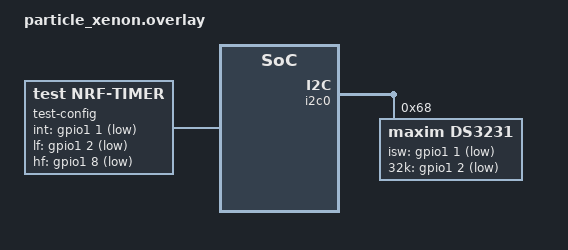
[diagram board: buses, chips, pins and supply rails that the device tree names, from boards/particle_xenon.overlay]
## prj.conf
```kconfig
CONFIG_PRINTK=y

CONFIG_I2C=y
CONFIG_COUNTER=y
CONFIG_COUNTER_DS3231=y

CONFIG_HWINFO=y
CONFIG_CLOCK_CONTROL_NRF_K32SRC_XTAL=y
CONFIG_CLOCK_CONTROL_NRF_K32SRC_RC=n
CONFIG_CLOCK_CONTROL_NRF_K32SRC_SYNTH=n
```

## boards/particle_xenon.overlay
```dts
/*
 * Copyright (c) 2019 Peter Bigot Consulting, LLC
 *
 * SPDX-License-Identifier: Apache-2.0
 */

&i2c0 { /* SDA P0.26, SCL P0.27, ISW P1.1, 32K P1.2 */
	status = "okay";
	ds3231: ds3231@68 {
		compatible = "maxim,ds3231";
		reg = <0x68>;
		label = "DS3231";
		isw-gpios = <&gpio1 1 (GPIO_PULL_UP | GPIO_ACTIVE_LOW)>;
		32k-gpios = <&gpio1 2 (GPIO_PULL_UP | GPIO_ACTIVE_LOW)>;
	};
};

/ {
  test-config {
     compatible = "test,nrf-timer";
     status = "okay";
     tick-rtc = <&rtc1>;
     hf-timer = <&timer0>;
     int-gpios = <&gpio1 1 (GPIO_PULL_UP | GPIO_ACTIVE_LOW)>;
     lf-gpios = <&gpio1 2 (GPIO_PULL_UP | GPIO_ACTIVE_LOW)>;
     hf-gpios = <&gpio1 8 (GPIO_PULL_UP | GPIO_ACTIVE_LOW)>;
  };
};
```

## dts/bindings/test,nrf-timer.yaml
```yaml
#
# Copyright (c) 2020 Nordic Semiconductor ASA
#
# SPDX-License-Identifier: Apache-2.0
#

description: |
    This binding provides resources required to build and run the
    samples/drivers/nrf_timer test.

compatible: "test,nrf-timer"

properties:
    tick-rtc:
      type: phandle
      required: false
      description: |
        Reference to the RTC peripheral used as the system tick timer.
        If absent uses NRF_RTC1 which is hard-coded as the tick timer.
        CC[0] is by the tick timer for alarms; CC[1] is used by this
        application for triggered capture.

    hf-timer:
      type: phandle
      required: true
      description: |
        Reference to the TIMER peripheral used as the high-frequency
        clock.  This timer must support 32-bit mode.  In this
        application CC[0] is used to read the timer; CC[1] is used for
        triggered capture.

    int-gpios:
        type: phandle-array
        required: true
        description: |
          Identity of a GPIO that will be connected to the 1pps signal
          and serve as the trigger for an interrupt in which the ticks
          counter will be captured.

    hf-gpios:
        type: phandle-array
        required: true
        description: |
          Identity of a GPIO that will be connected to the 1pps signal
          and serve as the trigger for a GPIOTE input event connected to
          an TIMER capture task.

    lf-gpios:
        type: phandle-array
        required: true
        description: |
          Identity of a GPIO that will be connected to the 1pps signal
          and serve as the trigger for a GPIOTE input event connected to
          an RTC capture task.
```

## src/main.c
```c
/*
 * Copyright (c) 2019-2020 Peter Bigot Consulting, LLC
 * Copyright (c) 2020 Nordic Semiconductor ASA
 *
 * SPDX-License-Identifier: Apache-2.0
 */

#include <stdio.h>

#define DT_DRV_COMPAT "test_nrf_timer"

#include <zephyr.h>
#include <device.h>
#include <drivers/counter.h>
#include <drivers/gpio.h>
#include <sys/printk.h>
#include <drivers/rtc/ds3231.h>
#include <drivers/hwinfo.h>
#include <drivers/clock_control.h>
#include <drivers/clock_control/nrf_clock_control.h>

#define NODE DT_PATH(test_config)

#define CLOCK ((NRF_CLOCK_Type*)(DT_REG_ADDR(DT_NODELABEL(clock))))

#define TICK_RTC ((NRF_RTC_Type*)(DT_NODE_HAS_PROP(NODE, tick_rtc)	\
				  ? (void*)DT_REG_ADDR(DT_PHANDLE(NODE, tick_rtc)) \
				  : NRF_RTC1))
#define TICK_CAPTURE_CC 1

#define HFCLK_TIMER ((NRF_TIMER_Type*)DT_REG_ADDR(DT_PHANDLE(NODE, hf_timer)))
#define HFCLK_Hz (16U * 1000U * 1000U)
#define HFCLK_READ_CC 0
#define HFCLK_CAPTURE_CC 1
#define HFCLK_GPIOTE_CH 1
#define HFCLK_PPI_CH 0

#define GPIOTE ((NRF_GPIOTE_Type*)DT_REG_ADDR(DT_NODELABEL(gpiote)))
#define PPI NRF_PPI

static u32_t hfclk_Hz;
static inline u32_t hfclk_read32(void)
{
	HFCLK_TIMER->TASKS_CAPTURE[HFCLK_READ_CC] = 1;
	return HFCLK_TIMER->CC[HFCLK_READ_CC];
}

static u32_t const tick_Hz = 32768;
static inline u32_t tick_read24(void)
{
	return TICK_RTC->COUNTER;
}

static u32_t systick_Hz;
static u32_t volatile systick_overflows;
static inline u32_t systick_read32(void)
{
	return ((systick_overflows + 1U) << 24) - SysTick->VAL;
}

static inline u32_t delta32(u32_t a, u32_t b)
{
	return b - a;
}

static inline u32_t delta24(u32_t a, u32_t b)
{
	return BIT_MASK(24) & (b - a);
}

struct gpios {
	NRF_GPIO_Type* periph;
	union {
		const char *label;
		struct device *dev;
	};
	gpio_pin_t pin;
	gpio_dt_flags_t flags;
	bool port;
};

#define GPIO_INITIALIZER(prop) {			\
	.periph = (NRF_GPIO_Type*)DT_REG_ADDR(DT_PHANDLE(NODE, prop)), \
	.label = DT_GPIO_LABEL(NODE, prop),		\
	.pin = DT_GPIO_PIN(NODE,prop),			\
	.flags = DT_GPIO_FLAGS(NODE, prop),		\
	.port = (DT_REG_ADDR(DT_PHANDLE(NODE, prop)) != NRF_P0_BASE),  \
}

static struct config {
	struct gpios int_pps;
	struct gpios hf_pps;
	struct gpios lf_pps;
} config = {
	.int_pps = GPIO_INITIALIZER(int_gpios),
	.hf_pps = GPIO_INITIALIZER(hf_gpios),
	.lf_pps = GPIO_INITIALIZER(lf_gpios),
};

struct sample {
	u32_t trig_capture_hfclk;
	u32_t int_capture_tick;
	u32_t int_capture_systick;
	u32_t work_capture_tick;
	u32_t work_capture_systick;
};

static struct sample volatile sample;
static struct sample last_sample;

static void show_id(void)
{
	union {
		u8_t hwid[10];
		char hwtext[31];
	} u = { 0 };
	int len = hwinfo_get_device_id(u.hwid, sizeof(u.hwid));
	const u8_t *sp = u.hwid + len;
	char *dp = u.hwtext + 3 * len - 1;

	*dp-- = 0;
	while (sp > u.hwid) {
		static char hexid[] = "0123456789abcdef";

		--sp;
		*dp-- = hexid[*sp & 0x0F];
		*dp-- = hexid[*sp >> 4];
		if (dp > u.hwtext) {
			*dp-- = ':';
		}
	}

	printk("%s %s\n", CONFIG_BOARD, u.hwtext);
	printk("RTC at %p, HFTIMER at %p\n",
	       TICK_RTC, HFCLK_TIMER);
}

static void show_clkstat(void)
{
	static const char *lfclk_src[] = {
		[CLOCK_LFCLKSTAT_SRC_RC] = "RC",
		[CLOCK_LFCLKSTAT_SRC_Xtal] = "Xtal",
		[CLOCK_LFCLKSTAT_SRC_Synth] = "Synth",
	};
	static const char *hfclk_src[] = {
		[CLOCK_HFCLKSTAT_SRC_RC] = "RC",
		[CLOCK_HFCLKSTAT_SRC_Xtal] = "Xtal",
	};
	u32_t reg = CLOCK->LFCLKSTAT;

	printk("LFCLK: %s %s\n",
	       (reg & CLOCK_LFCLKSTAT_STATE_Msk) ? "Running" : "Off",
	       lfclk_src[(reg & CLOCK_LFCLKSTAT_SRC_Msk)
			 >> CLOCK_LFCLKSTAT_SRC_Pos]);
	reg = CLOCK->HFCLKSTAT;
	printk("HFCLK: %s %s, raw freq %u Hz ; timer %u Hz\n",
	       (reg & CLOCK_HFCLKSTAT_STATE_Msk) ? "Running" : "Off",
	       hfclk_src[(reg & CLOCK_HFCLKSTAT_SRC_Msk)
			 >> CLOCK_HFCLKSTAT_SRC_Pos],
	       HFCLK_Hz,
	       HFCLK_Hz >> HFCLK_TIMER->PRESCALER);
}

static inline s32_t err_ppm(u32_t delta,
			    u32_t expected)
{
	s32_t err = delta - expected;
	return ((s64_t)1000000 * err) / (s32_t)expected;
}

static void pps_work_handler(struct k_work *work)
{
	static u32_t count;
	struct sample cur = sample;

	cur.work_capture_systick = systick_read32();
	cur.work_capture_tick = tick_read24();
	++count;

	u32_t tk_delay = delta24(cur.int_capture_tick, cur.work_capture_tick);
	u32_t st_delay = delta32(cur.int_capture_systick, cur.work_capture_systick);
	u32_t tk_delta = delta24(last_sample.int_capture_tick,
				  cur.int_capture_tick);
	u32_t st_delta = delta32(last_sample.int_capture_systick,
				 cur.int_capture_systick);
	u32_t hf_delta = delta32(last_sample.trig_capture_hfclk,
				 cur.trig_capture_hfclk);

	printk("%u: delay %u / %u\n"
	       "\tlf %u delta %u ; err %d ppm\n"
	       "\tsystick %u delta %u; err %d ppm\n"
	       "\thf %u delta %u ; err %d ppm\n",
	       count, tk_delay, st_delay,
	       cur.int_capture_tick, tk_delta, err_ppm(tk_delta, tick_Hz),
	       cur.int_capture_systick, st_delta, err_ppm(st_delta, systick_Hz),
	       cur.trig_capture_hfclk, hf_delta, err_ppm(hf_delta, hfclk_Hz));

	if ((count % 10) == 0) {
		show_clkstat();
	}

	last_sample = cur;
}

static K_WORK_DEFINE(pps_work, pps_work_handler);

static void pps_irq_handler(struct device *dev,
			    struct gpio_callback *cb,
			    u32_t pins)
{
	sample.int_capture_systick = systick_read32();
	sample.int_capture_tick = tick_read24();
	sample.trig_capture_hfclk = HFCLK_TIMER->CC[HFCLK_CAPTURE_CC];
	k_work_submit(&pps_work);
}

static void setup_captures(void)
{
	config.int_pps.dev = device_get_binding(config.int_pps.label);
	config.hf_pps.dev = device_get_binding(config.hf_pps.label);
	config.lf_pps.dev = device_get_binding(config.lf_pps.label);

	SysTick->LOAD = 0xffffff;
	SysTick->CTRL |= (SysTick_CTRL_ENABLE_Msk |
			  SysTick_CTRL_CLKSOURCE_Msk);

	const u32_t delay_us = 1000;
	u32_t t0 = SysTick->VAL;
	k_busy_wait(delay_us);
	u32_t t1 = SysTick->VAL;
	u32_t dt = delta24(t1, t0);
	systick_Hz = 1000U * 1000U * ((dt + 500U) / 1000U);
	printk("SysTick advanced %u in %u us, %u Hz\n",
	       dt, delay_us, systick_Hz);

	HFCLK_TIMER->MODE = (TIMER_MODE_MODE_Timer << TIMER_MODE_MODE_Pos);
	HFCLK_TIMER->BITMODE = (TIMER_BITMODE_BITMODE_32Bit << TIMER_BITMODE_BITMODE_Pos);
	HFCLK_TIMER->PRESCALER = 0;
	HFCLK_TIMER->TASKS_START = 1;

	hfclk_Hz = (16UL * 1000U * 1000U) >> HFCLK_TIMER->PRESCALER;

	t0 = hfclk_read32();
	k_busy_wait(delay_us);
	t1 = hfclk_read32();
	dt = delta32(t0, t1);
	printk("HFCLK advanced %u in %u us, %u Hz\n",
	       dt, delay_us, hfclk_Hz);

	GPIOTE->CONFIG[HFCLK_GPIOTE_CH] = 0
		| (GPIOTE_CONFIG_MODE_Event << GPIOTE_CONFIG_MODE_Pos)
		| (config.hf_pps.pin << GPIOTE_CONFIG_PSEL_Pos)
		| (config.hf_pps.port << GPIOTE_CONFIG_PORT_Pos)
		| (GPIOTE_CONFIG_POLARITY_HiToLo << GPIOTE_CONFIG_POLARITY_Pos)
		;

	PPI->CH[HFCLK_PPI_CH] = (PPI_CH_Type){
		.EEP = (uintptr_t)(GPIOTE->EVENTS_IN + HFCLK_GPIOTE_CH),
		.TEP = (uintptr_t)(HFCLK_TIMER->TASKS_CAPTURE + HFCLK_CAPTURE_CC),
	};
	PPI->CHENSET = BIT(HFCLK_PPI_CH);

	static struct gpio_callback int_pps_cb;
	gpio_init_callback(&int_pps_cb, pps_irq_handler,
			   BIT(config.int_pps.pin));

	gpio_add_callback(config.int_pps.dev, &int_pps_cb);

	int rc = gpio_pin_configure(config.int_pps.dev,
				    config.int_pps.pin,
				    GPIO_INPUT | config.int_pps.flags);
	if (rc >= 0) {
		rc = gpio_pin_interrupt_configure(config.int_pps.dev,
						  config.int_pps.pin,
						  GPIO_INT_EDGE_TO_ACTIVE);
	}
	printk("pin config %d\n", rc);
}

void main(void)
{
	int rc;
	struct device *ds3231;
	struct device *clock = device_get_binding(DT_LABEL(DT_NODELABEL(clock)));

	show_id();
	setup_captures();
	show_clkstat();

	const char *const dev_id = DT_LABEL(DT_INST(0, maxim_ds3231));

	printk("clock %p\n", clock);

	if (false) {
		rc = clock_control_on(clock, CLOCK_CONTROL_NRF_SUBSYS_HF);
		printk("Clock on %d\n", rc);
	}

	ds3231 = device_get_binding(dev_id);
	if (!ds3231) {
		printk("No device %s available\n", dev_id);
		return;
	}

	rc = rtc_ds3231_ctrl_update(ds3231,
				    0,
				    RTC_DS3231_REG_CTRL_RS_Msk | RTC_DS3231_REG_CTRL_INTCN);
	printk("Enable PPS got %d\n", rc);

	u32_t t0 = k_uptime_get_32();
	u32_t last_systick = SysTick->VAL;
	u32_t t1;
	do {
		u32_t systick = SysTick->VAL;
		systick_overflows += (systick > last_systick);
		last_systick = systick;
		t1 = k_uptime_get_32();
	} while ((t1 - t0) < 10000U);

	rc = rtc_ds3231_ctrl_update(ds3231,
					RTC_DS3231_REG_CTRL_INTCN,
					0);
	printk("Disable PPS got %d\n", rc);
}
```
